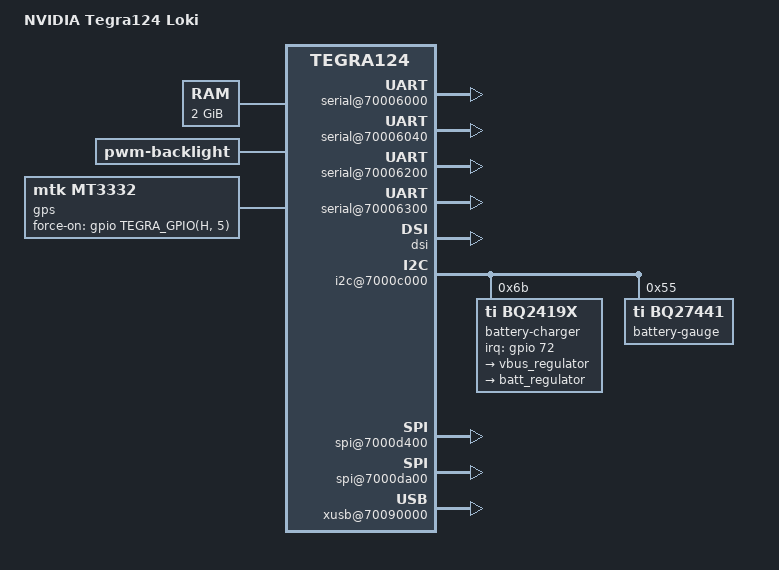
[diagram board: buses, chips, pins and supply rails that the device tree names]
/*
 * Copyright (c) 2014, NVIDIA CORPORATION.  All rights reserved.
 *
 * This program is free software; you can redistribute it and/or modify it
 * under the terms and conditions of the GNU General Public License,
 * version 2, as published by the Free Software Foundation.
 *
 * This program is distributed in the hope it will be useful, but WITHOUT
 * ANY WARRANTY; without even the implied warranty of MERCHANTABILITY or
 * FITNESS FOR A PARTICULAR PURPOSE.  See the GNU General Public License for
 * more details.
 */

/dts-v1/;

#include "tegra124.dtsi"
#include <dt-bindings/gpio/tegra-gpio.h>
#include <tegra124-platforms/tegra124-loki-gpio-default.dtsi>
#include <tegra124-platforms/tegra124-loki-pinmux.dtsi>
#include "tegra124-platforms/tegra124-loki-sensor.dtsi"
#include "panel-j-720p-5-0.dtsi"
#include "panel-l-720p-5-0.dtsi"
#include "panel-j-1440-810-5-8.dtsi"
#include <tegra124-platforms/tegra124-loki-hdmi-e2548-1000-a00.dtsi>

/ {
	model = "NVIDIA Tegra124 Loki";
	compatible = "nvidia,loki", "nvidia,tegra124";
	nvidia,dtsfilename = __FILE__;
	#address-cells = <2>;
	#size-cells = <2>;

	chosen {
		bootargs = "tegraid=40.0.0.00.00 vmalloc=256M video=tegrafb console=ttyS0,115200n8 earlyprintk";
		linux,initrd-start = <0x85000000>;
		linux,initrd-end = <0x851bc400>;
	};

	serial@70006000 {
		compatible = "nvidia,tegra114-hsuart";
		status = "okay";
	};

	serial@70006040 {
		compatible = "nvidia,tegra114-hsuart";
		status = "okay";
	};

	serial@70006200 {
		compatible = "nvidia,tegra114-hsuart";
		status = "okay";
	};

	serial@70006300 {
		compatible = "nvidia,tegra20-uart", "nvidia,tegra114-hsuart";
		console-port;
		sqa-automation-port;
		status = "okay";
	};

	memory@0x80000000 {
		device_type = "memory";
		reg = <0x0 0x80000000 0x0 0x80000000>;
	};

	host1x {
		/* tegradc.0 */
		dc@54200000 {
			status = "okay";
			nvidia,dc-flags = <TEGRA_DC_FLAG_ENABLED>;
			nvidia,emc-clk-rate = <204000000>;
			nvidia,cmu-enable = <1>;
			nvidia,fb-bpp = <32>; /* bits per pixel */
			nvidia,fb-flags = <TEGRA_FB_FLIP_ON_PROBE>;
		};
		/* tegradc.1 */
		dc@54240000 {
			status = "okay";
			nvidia,dc-flags = <TEGRA_DC_FLAG_ENABLED>;
			nvidia,emc-clk-rate = <300000000>;
			nvidia,cmu-enable = <1>;
			nvidia,fb-bpp = <32>; /* bits per pixel */
			nvidia,fb-flags = <TEGRA_FB_FLIP_ON_PROBE>;
		};
		dsi {
			nvidia,dsi-controller-vs = <DSI_VS_1>;
			status = "okay";
			panel-j-720p-5-0 {
				nvidia,dsi-dpd-pads = <DSIC_DPD_EN DSID_DPD_EN>;
				nvidia,panel-bl-pwm-gpio = <&gpio TEGRA_GPIO(H, 1) 0>; /* PH1 */
				nvidia,panel-rst-gpio = <&gpio TEGRA_GPIO(H, 3) 0>; /* PH3 */
				nvidia,panel-en-gpio = <&gpio TEGRA_GPIO(Q, 2) 0>; /* PQ2 */
				disp-default-out {
					nvidia,out-rotation = <270>;
				};
			};
			panel-j-1440-810-5-8 {
				nvidia,dsi-dpd-pads = <DSIC_DPD_EN DSID_DPD_EN>;
				nvidia,panel-bl-pwm-gpio = <&gpio TEGRA_GPIO(H, 1) 0>; /* PH1 */
				nvidia,panel-rst-gpio = <&gpio TEGRA_GPIO(H, 3) 0>; /* PH3 */
				nvidia,panel-en-gpio = <&gpio TEGRA_GPIO(Q, 2) 0>; /* PQ2 */
			};
			panel-l-720p-5-0 {
				nvidia,dsi-dpd-pads = <DSIC_DPD_EN DSID_DPD_EN>;
				nvidia,panel-bl-pwm-gpio = <&gpio TEGRA_GPIO(H, 1) 0>; /* PH1 */
				nvidia,panel-rst-gpio = <&gpio TEGRA_GPIO(H, 3) 0>; /* PH3 */
				nvidia,panel-en-gpio = <&gpio TEGRA_GPIO(Q, 2) 0>; /* PQ2 */
				nvidia,dsi-init-cmd = <TEGRA_DSI_DELAY_MS 20>,
					<TEGRA_DSI_GPIO_SET TEGRA_GPIO(H, 3) 1>,
					<TEGRA_DSI_PACKET_CMD DSI_GENERIC_LONG_WRITE 0x6 0x0 0x0 0xe0 0x43 0x0 0x80 0x0 0x0 0x0 0x0>,
					<TEGRA_DSI_PACKET_CMD DSI_GENERIC_LONG_WRITE 0x6 0x0 0x0 0xb5 0x34 0x20 0x40 0x0 0x20 0x0 0x0>,
					<TEGRA_DSI_PACKET_CMD DSI_GENERIC_LONG_WRITE 0x6 0x0 0x0 0xb6 0x04 0x74 0x0f 0x16 0x13 0x0 0x0>,
					<TEGRA_DSI_PACKET_CMD DSI_GENERIC_LONG_WRITE 0x3 0x0 0x0 0xc0 0x01 0x08 0x0 0x0>,
					<0x0 DSI_GENERIC_SHORT_WRITE_2_PARAMS 0xc1 0x0 0x0>,
					<TEGRA_DSI_PACKET_CMD DSI_GENERIC_LONG_WRITE 0xa 0x0 0x0 0xc3 0x0 0x09 0x10 0x02 0x0 0x66 0x00 0x13 0x0 0x0 0x0>,
					<TEGRA_DSI_PACKET_CMD DSI_GENERIC_LONG_WRITE 0x6 0x0 0x0 0xc4 0x23 0x24 0x12 0x12 0x60 0x0 0x0>,
					<TEGRA_DSI_PACKET_CMD DSI_GENERIC_LONG_WRITE 0xa 0x0 0x0 0xd0 0x21 0x25 0x67 0x36 0x0a 0x06 0x61 0x23 0x03 0x0 0x0>,
					<TEGRA_DSI_PACKET_CMD DSI_GENERIC_LONG_WRITE 0xa 0x0 0x0 0xd1 0x31 0x25 0x66 0x36 0x05 0x06 0x61 0x23 0x03 0x0 0x0>,
					<TEGRA_DSI_PACKET_CMD DSI_GENERIC_LONG_WRITE 0xa 0x0 0x0 0xd2 0x41 0x26 0x56 0x36 0x0a 0x06 0x61 0x23 0x03 0x0 0x0>,
					<TEGRA_DSI_PACKET_CMD DSI_GENERIC_LONG_WRITE 0xa 0x0 0x0 0xd3 0x51 0x26 0x55 0x36 0x05 0x06 0x61 0x23 0x03 0x0 0x0>,
					<TEGRA_DSI_PACKET_CMD DSI_GENERIC_LONG_WRITE 0xa 0x0 0x0 0xd4 0x41 0x26 0x56 0x36 0x0a 0x06 0x61 0x23 0x03 0x0 0x0>,
					<TEGRA_DSI_PACKET_CMD DSI_GENERIC_LONG_WRITE 0xa 0x0 0x0 0xd5 0x51 0x26 0x55 0x36 0x05 0x06 0x61 0x23 0x03 0x0 0x0>,
					<0x0 DSI_DCS_WRITE_1_PARAM DSI_DCS_SET_ADDR_MODE 0x0b 0x0>,
					<0x0 DSI_GENERIC_SHORT_WRITE_2_PARAMS 0xf9 0x0 0x0>,
					<0x0 DSI_GENERIC_SHORT_WRITE_2_PARAMS 0xc2 0x02 0x0>,
					<TEGRA_DSI_DELAY_MS 20>,
					<0x0 DSI_GENERIC_SHORT_WRITE_2_PARAMS 0xc2 0x06 0x0>,
					<TEGRA_DSI_DELAY_MS 20>,
					<0x0 DSI_GENERIC_SHORT_WRITE_2_PARAMS 0xc2 0x4e 0x0>,
					<TEGRA_DSI_DELAY_MS 100>,
					<0x0 DSI_DCS_WRITE_0_PARAM DSI_DCS_EXIT_SLEEP_MODE 0x0 0x0>,
					<TEGRA_DSI_DELAY_MS 140>,
					<0x0 DSI_GENERIC_SHORT_WRITE_2_PARAMS 0xf9 0x80 0x0>,
					<TEGRA_DSI_DELAY_MS 20>,
					<0x0 DSI_DCS_WRITE_0_PARAM DSI_DCS_SET_DISPLAY_ON 0x0 0x0>;
				nvidia,dsi-n-init-cmd = <28>;
				disp-default-out {
					nvidia,out-rotation = <90>;
				};
			};
		};
	};

	backlight {
		compatible = "pwm-backlight";
		status = "okay";
	};

	i2c@7000c000 {
		battery-charger@6b {
			compatible = "ti,bq2419x";
			reg = <0x6b>;
			interrupt-parent = <&gpio>;
			interrupts = <72 0x0>;
			ti,charging-term-current-mA = <100>;

			vbus {
				regulator-name = "vbus_regulator";
				ti,otg-iusb-gpio = <&gpio TEGRA_GPIO(I, 4) 0>;
				consumers {
					c1 {
						regulator-consumer-supply = "usb_vbus";
						regulator-consumer-device = "tegra-ehci.0";
					};

					c2 {
						regulator-consumer-supply = "usb_vbus";
						regulator-consumer-device = "tegra-otg";
					};
				};
			};

			charger {
				regulator-name = "batt_regulator";
				regulator-max-microamp = <3000000>;
				ti,watchdog-timeout = <40>;
				ti,rtc-alarm-time = <3600>;
				ti,auto-recharge-time = <1800>;
				ti,temp-polling-time-sec = <5>;
				ti,disbale-suspend-during-charging;
				ti,pre-charge-current-limit-milliamp = <768>;
				ti,charge-term-current-limit-milliamp = <384>;
				ti,ir-comp-resister-ohm = <70>;
				ti,ir-comp-voltage-millivolt = <112>;
				ti,thermal-regulation-threshold-degc = <100>;
				consumers {
					c1 {
						regulator-consumer-supply = "usb_bat_chg";
						regulator-consumer-device = "tegra-udc.0";
					};
				};
			};
		};

		battery-gauge@55 {
			compatible = "ti,bq27441";
			reg = <0x55>;
			ti,design-capacity = <7350>;
			ti,design-energy = <27195>;
			ti,taper-rate = <170>;
			ti,terminate-voltage = <3400>;
			ti,v-at-chg-term = <4200>;
			ti,tz-name = "Battery";
		};

	};

	i2c@7000d000 {
		nvidia,bit-banging-xfer-after-shutdown;

		tps65913 {
			extcon {
				extcon-name = "palmas-extcon";
			};
		};
	};

	spi@7000d400 {
		status = "okay";
		spi-max-frequency = <25000000>;
	};

	spi@7000da00 {
		status = "okay";
		spi-max-frequency = <25000000>;
	};

	gps {
		compatible = "mtk,mt3332";
		force-on-gpios = <&gpio TEGRA_GPIO(H, 5) GPIO_ACTIVE_HIGH>;
	};

	pmc@7000e400 {
		status = "okay";
		nvidia,invert-interrupt;
		nvidia,suspend-mode = <3>;
		nvidia,cpu-pwr-good-time = <3500>;
		nvidia,cpu-pwr-off-time = <300>;
		nvidia,core-pwr-good-time = <3845 3845>;
		nvidia,core-pwr-off-time = <2000>;
		nvidia,core-power-req-active-high;
		nvidia,sys-clock-req-active-high;
	};

	xusb@70090000 {
		/* nvidia,uses_external_pmic;
		nvidia,gpio_controls_muxed_ss_lanes; */
		nvidia,gpio_ss1_sata = <0>;
		nvidia,portmap = <0x703>; /* SSP0, SSP1 USB2P0, USB2P1, USBP2 */
		nvidia,ss_portmap = <0x20>; /* SSP0 on USB2P0, SSP1 on USB2P2 */
		nvidia,lane_owner = <6>; /* USB3P0 USB3P1 */
		nvidia,ulpicap = <0>; /* No ulpi support. can we remove */
		status = "okay";
	};
};
